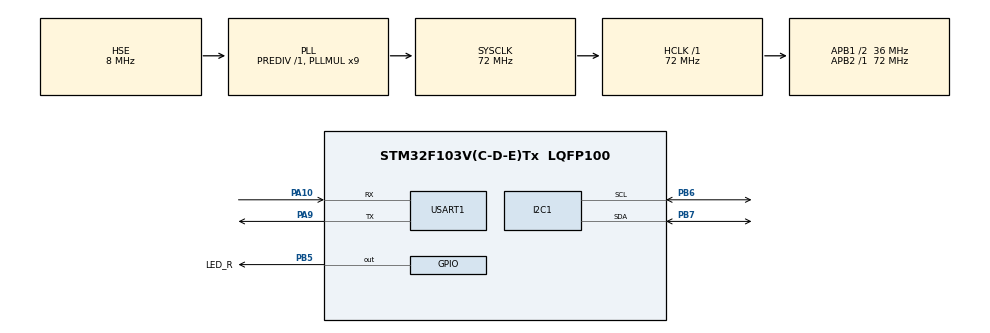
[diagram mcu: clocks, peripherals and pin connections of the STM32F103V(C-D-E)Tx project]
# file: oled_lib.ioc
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I2C1.I2C_Mode=I2C_Standard
Mcu.Family=STM32F1
Mcu.Name=STM32F103V(C-D-E)Tx
Mcu.Package=LQFP100
NVIC.PriorityGroup=NVIC_PRIORITYGROUP_4
NVIC.TIM6_IRQn=true\:0\:0\:false\:false\:true\:true\:true
OSC_IN.Mode=HSE-External-Oscillator
OSC_IN.Signal=RCC_OSC_IN
OSC_OUT.Mode=HSE-External-Oscillator
OSC_OUT.Signal=RCC_OSC_OUT
PA10.Mode=Asynchronous
PA10.Signal=USART1_RX
PA13.Mode=Serial_Wire
PA13.Signal=SYS_JTMS-SWDIO
PA14.Mode=Serial_Wire
PA14.Signal=SYS_JTCK-SWCLK
PA9.Mode=Asynchronous
PA9.Signal=USART1_TX
PB5.GPIO_Label=LED_R
PB5.Signal=GPIO_Output
PB6.Mode=I2C
PB6.Signal=I2C1_SCL
PB7.Mode=I2C
PB7.Signal=I2C1_SDA
ProjectManager.HeapSize=0x200
ProjectManager.StackSize=0x400
ProjectManager.TargetToolchain=Makefile
RCC.AHBFreq_Value=72000000
RCC.APB1CLKDivider=RCC_HCLK_DIV2
RCC.APB1Freq_Value=36000000
RCC.APB1TimFreq_Value=72000000
RCC.APB2Freq_Value=72000000
RCC.APB2TimFreq_Value=72000000
RCC.HCLKFreq_Value=72000000
RCC.PLLMUL=RCC_PLL_MUL9
RCC.PLLSourceVirtual=RCC_PLLSOURCE_HSE
RCC.SYSCLKFreq_VALUE=72000000
RCC.SYSCLKSource=RCC_SYSCLKSOURCE_PLLCLK
RCC.USBFreq_Value=72000000
TIM6.Period=1000-1
TIM6.Prescaler=72-1
USART1.VirtualMode=VM_ASYNC
VP_TIM6_VS_ClockSourceINT.Mode=Enable_Timer
board=custom

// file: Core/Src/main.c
/* USER CODE BEGIN Header */
/**
  ******************************************************************************
  * @file           : main.c
  * @brief          : Main program body
  ******************************************************************************
  * @attention
  *
  * <h2><center>&copy; Copyright (c) 2020 STMicroelectronics.
  * All rights reserved.</center></h2>
  *
  * This software component is licensed by ST under BSD 3-Clause license,
  * the "License"; You may not use this file except in compliance with the
  * License. You may obtain a copy of the License at:
  *                        opensource.org/licenses/BSD-3-Clause
  *
  ******************************************************************************
  */
/* USER CODE END Header */

#include "main.h"
#include "i2c.h"
#include "tim.h"
#include "usart.h"
#include "gpio.h"

/* USER CODE BEGIN Includes */
#include "test.h"
#include "draw_api.h"
#include "oled_debug.h"

#define u8 uint8_t
#define u16 uint16_t
#define u32 uint32_t
/* USER CODE END Includes */

void SystemClock_Config(void);

int main(void)
{
    /* USER CODE BEGIN 1 */
    uint8_t count = 1;
    /* USER CODE END 1 */

    /* MCU Configuration--------------------------------------------------------*/

    /* Reset of all peripherals, Initializes the Flash interface and the Systick. */
    HAL_Init();

    /* Configure the system clock */
    SystemClock_Config();

    /* Initialize all configured peripherals */
    MX_GPIO_Init();
    MX_I2C1_Init();
    MX_TIM6_Init();
    MX_USART1_UART_Init();
    /* USER CODE BEGIN 2 */
    InitGraph();
    if (HAL_TIM_Base_Start_IT(&htim6) != HAL_OK)
    {
        Error_Handler();
    }
    else
    {
        //OledPrintf("tim6 is ok\r\n");
    }
    //demo();
    /* USER CODE END 2 */

    /* Infinite loop */
    while (1)
    {

        /* USER CODE BEGIN 3 */
        OledPrintf("count:%d\r\n", count++);
        HAL_Delay(1000);
        if(count == 100)
        {
            count = 0;
        }
    }
    /* USER CODE END 3 */
}

void SystemClock_Config(void)
{
    RCC_OscInitTypeDef RCC_OscInitStruct = {0};
    RCC_ClkInitTypeDef RCC_ClkInitStruct = {0};

    /** Initializes the CPU, AHB and APB busses clocks
  */
    RCC_OscInitStruct.OscillatorType = RCC_OSCILLATORTYPE_HSE;
    RCC_OscInitStruct.HSEState = RCC_HSE_ON;
    RCC_OscInitStruct.HSEPredivValue = RCC_HSE_PREDIV_DIV1;
    RCC_OscInitStruct.HSIState = RCC_HSI_ON;
    RCC_OscInitStruct.PLL.PLLState = RCC_PLL_ON;
    RCC_OscInitStruct.PLL.PLLSource = RCC_PLLSOURCE_HSE;
    RCC_OscInitStruct.PLL.PLLMUL = RCC_PLL_MUL9;
    if (HAL_RCC_OscConfig(&RCC_OscInitStruct) != HAL_OK)
    {
        Error_Handler();
    }
    /** Initializes the CPU, AHB and APB busses clocks
  */
    RCC_ClkInitStruct.ClockType = RCC_CLOCKTYPE_HCLK | RCC_CLOCKTYPE_SYSCLK | RCC_CLOCKTYPE_PCLK1 | RCC_CLOCKTYPE_PCLK2;
    RCC_ClkInitStruct.SYSCLKSource = RCC_SYSCLKSOURCE_PLLCLK;
    RCC_ClkInitStruct.AHBCLKDivider = RCC_SYSCLK_DIV1;
    RCC_ClkInitStruct.APB1CLKDivider = RCC_HCLK_DIV2;
    RCC_ClkInitStruct.APB2CLKDivider = RCC_HCLK_DIV1;

    if (HAL_RCC_ClockConfig(&RCC_ClkInitStruct, FLASH_LATENCY_2) != HAL_OK)
    {
        Error_Handler();
    }
}

void Error_Handler(void)
{
}

/************************ (C) COPYRIGHT STMicroelectronics *****END OF FILE****/
